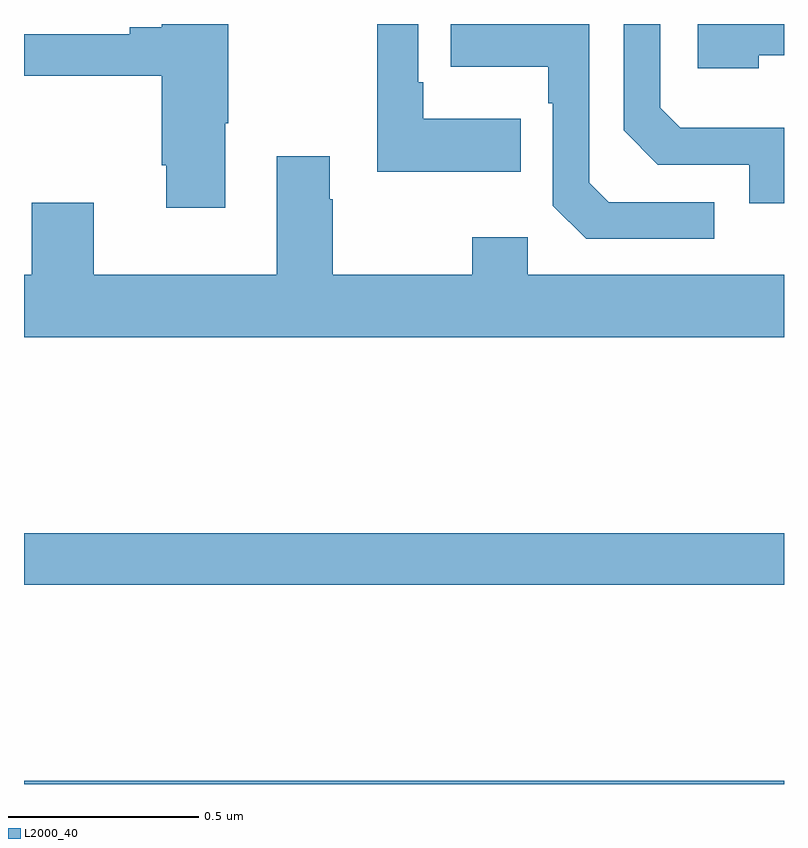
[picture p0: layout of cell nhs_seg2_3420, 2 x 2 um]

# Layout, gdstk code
import gdstk
lib = gdstk.Library(unit=1e-6, precision=1e-09)
def R(c, l, rs):  # rectangles x0, y0, x1, y1
    for r in rs: c.add(gdstk.rectangle(r[:2], r[2:], *l))
def P(c, l, *ps):  # polygons
    for p in ps: c.add(gdstk.Polygon(p, *l))
L2000_40 = (2000, 40)

nhs_seg2_3420 = lib.new_cell('nhs_seg2_3420')
R(nhs_seg2_3420, L2000_40, [(153,639.8,155,639.808), (153,640.324,155,640.46)])
P(nhs_seg2_3420, L2000_40, [(154.934,641.718),(155,641.718),(155,641.8),(154.773,641.8),(154.773,641.684),(154.934,641.684)],
  [(154.816,641.331),(154.539,641.331),(154.488,641.382),(154.488,641.8),(154.123,641.8),(154.123,641.687),(154.38,641.687),(154.38,641.591),(154.392,641.591),(154.392,641.322),(154.479,641.235),(154.816,641.235)],
  [(153.529,641.539),(153.537,641.539),(153.537,641.8),(153.362,641.8),(153.362,641.792),(153.278,641.792),(153.278,641.773),(153,641.773),(153,641.664),(153.362,641.664),(153.362,641.428),(153.374,641.428),(153.374,641.316),(153.529,641.316)],
  [(154.307,641.551),(154.051,641.551),(154.051,641.647),(154.038,641.647),(154.038,641.8),(153.93,641.8),(153.93,641.411),(154.307,641.411)],
  [(155,641.527),(154.727,641.527),(154.674,641.58),(154.674,641.8),(154.578,641.8),(154.578,641.52),(154.668,641.43),(154.908,641.43),(154.908,641.328),(155,641.328)],
  [(155,641.14),(154.326,641.14),(154.326,641.239),(154.18,641.239),(154.18,641.14),(153.813,641.14),(153.813,641.339),(153.805,641.339),(153.805,641.452),(153.665,641.452),(153.665,641.14),(153.184,641.14),(153.184,641.329),(153.02,641.329),(153.02,641.14),(153,641.14),(153,640.976),(155,640.976)])

lib.write_gds('nhs_seg2_3420.gds')
